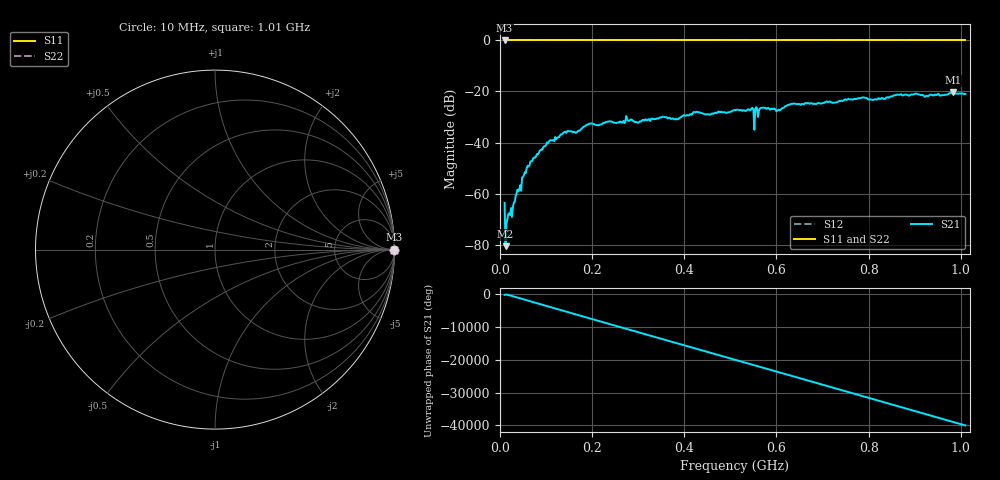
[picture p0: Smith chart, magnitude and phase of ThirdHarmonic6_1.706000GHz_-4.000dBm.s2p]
! 8/16/2025 8:30:35 PM
! C:\ANRITSUVNA\TEMP\TEMP.S2P
! CHANNEL.1
! TR.MEASUREMENT
! RAW.DATA
! RF.CORRECTION.OFF
! AVERAGING.OFF
! IF.BANDWIDTH: 5KHZ
! SWEEPTYPE:  FREQ.SWEEP(Linear)
! Reference Plane Port Info
! PORT:  PORT1  PORT2
! DISTANCE:  0  m  0  m
! TIME:  0  s  0  s
! PHASE.OFFSET:  0  deg.  0  deg.
! LOSS:  0  dB  0  dB
! REF.LOSS:  0  dB  0  dB
! REF.FREQ:  0  Hz  0  Hz
! Power Info
! POWER:  -20  dBm  -20  dBm
! EFF.POWER:  -20  dBm  -20  dBm
! SOURCE.ATTEN:  0  dB  0  dB
! TEST.ATTEN:  0  dB  0  dB
# GHZ S RI R 50.0
! FREQ.GHZ  S11RE  S11IM  S21RE  S21IM  S12RE  S12IM  S22RE  S22IM
!; PortSelection: Port_12
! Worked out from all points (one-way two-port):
!   501 points, 10 MHz to 1.01 GHz, reference 50 ohm
!   highest |S21| = -20.39 dB at 984 MHz (marker M1); lowest = -80.6 dB at 12 MHz (marker M2)
!   lowest |S11| = 0.0 dB at 10 MHz (marker M3)
!   |S11| at or under -10 dB: nowhere
!   |S22| runs from 0.0 to 0.0 dB; largest |S21 - S12| = 1.1
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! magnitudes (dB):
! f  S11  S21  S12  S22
! 10 MHz  0.0  -63.7  0.0  0.0
! 12 MHz  0.0  -80.6  0.0  0.0
! 16 MHz  0.0  -70.2  0.0  0.0
! 20 MHz  0.0  -67.8  0.0  0.0
! 26 MHz  0.0  -69.1  0.0  0.0
! 52 MHz  0.0  -52.8  0.0  0.0
! 70 MHz  0.0  -47.3  0.0  0.0
! 106 MHz  0.0  -39.7  0.0  0.0
! 142 MHz  0.0  -35.8  0.0  0.0
! 178 MHz  0.0  -34.4  0.0  0.0
! 196 MHz  0.0  -32.5  0.0  0.0
! 344 MHz  0.0  -30.6  0.0  0.0
! 510 MHz  0.0  -27.3  0.0  0.0
! 546 MHz  0.0  -26.5  0.0  0.0
! 556 MHz  0.0  -26.2  0.0  0.0
! 568 MHz  0.0  -26.4  0.0  0.0
! 604 MHz  0.0  -27.1  0.0  0.0
! 634 MHz  0.0  -24.8  0.0  0.0
! 678 MHz  0.0  -24.7  0.0  0.0
! 844 MHz  0.0  -22.4  0.0  0.0
! 984 MHz  0.0  -20.4  0.0  0.0
! 1.01 GHz  0.0  -21.0  0.0  0.0
